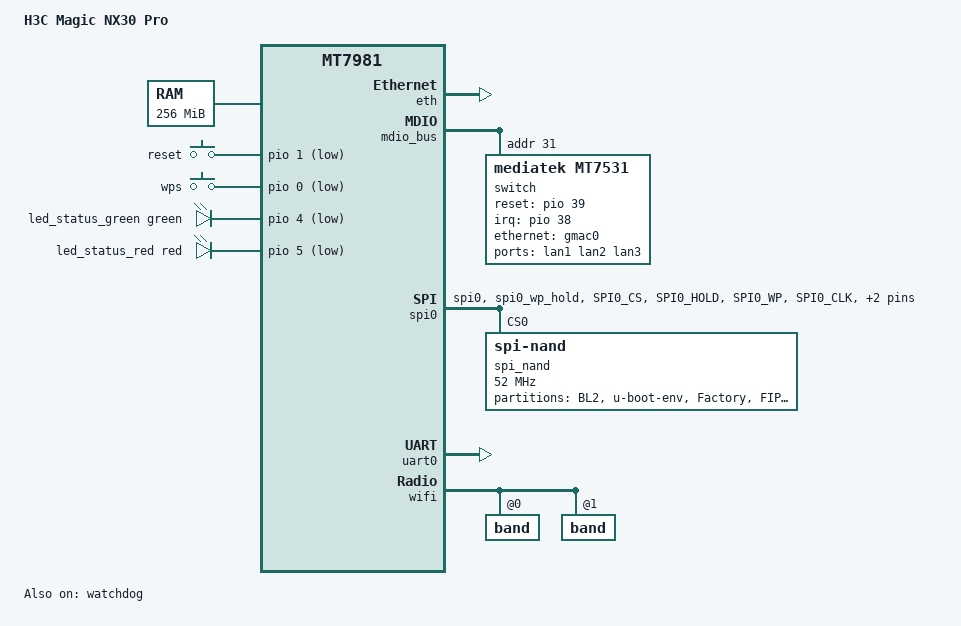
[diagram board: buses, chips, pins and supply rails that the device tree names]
// SPDX-License-Identifier: GPL-2.0-or-later OR MIT

/dts-v1/;
#include <dt-bindings/gpio/gpio.h>
#include <dt-bindings/input/input.h>
#include <dt-bindings/leds/common.h>

#include "mt7981.dtsi"

/ {
	model = "H3C Magic NX30 Pro";
	compatible = "h3c,magic-nx30-pro", "mediatek,mt7981";

	aliases {
		serial0 = &uart0;
		led-boot = &led_status_green;
		led-failsafe = &led_status_red;
		led-running = &led_status_green;
		led-upgrade = &led_status_red;
	};

	chosen: chosen {
		bootargs-append = " root=/dev/fit0 rootwait";
		rootdisk = <&ubi_rootdisk>;
		stdout-path = "serial0:115200n8";
	};

	memory {
		reg = <0 0x40000000 0 0x10000000>;
	};

	gpio-keys {
		compatible = "gpio-keys";

		reset {
			label = "reset";
			linux,code = <KEY_RESTART>;
			gpios = <&pio 1 GPIO_ACTIVE_LOW>;
		};

		wps {
			label = "wps";
			linux,code = <KEY_WPS_BUTTON>;
			gpios = <&pio 0 GPIO_ACTIVE_LOW>;
		};
	};

	leds {
		compatible = "gpio-leds";

		led_status_green: green {
			function = LED_FUNCTION_STATUS;
			color = <LED_COLOR_ID_GREEN>;
			gpios = <&pio 4 GPIO_ACTIVE_LOW>;
		};

		led_status_red: red {
			function = LED_FUNCTION_STATUS;
			color = <LED_COLOR_ID_RED>;
			gpios = <&pio 5 GPIO_ACTIVE_LOW>;
		};
	};
};

&eth {
	status = "okay";

	gmac0: mac@0 {
		compatible = "mediatek,eth-mac";
		reg = <0>;
		phy-mode = "2500base-x";
		nvmem-cell-names = "mac-address";
		nvmem-cells = <&macaddr_factory_4 2>;

		fixed-link {
			speed = <2500>;
			full-duplex;
			pause;
		};
	};

	gmac1: mac@1 {
		compatible = "mediatek,eth-mac";
		reg = <1>;
		phy-mode = "gmii";
		phy-handle = <&int_gbe_phy>;
		nvmem-cell-names = "mac-address";
		nvmem-cells = <&macaddr_factory_4 3>;
	};
};

&mdio_bus {
	switch: switch@1f {
		compatible = "mediatek,mt7531";
		reg = <31>;
		reset-gpios = <&pio 39 GPIO_ACTIVE_HIGH>;
		interrupt-controller;
		#interrupt-cells = <1>;
		interrupt-parent = <&pio>;
		interrupts = <38 IRQ_TYPE_LEVEL_HIGH>;
	};
};

&spi0 {
	pinctrl-names = "default";
	pinctrl-0 = <&spi0_flash_pins>;
	status = "okay";

	spi_nand: spi_nand@0 {
		compatible = "spi-nand";
		#address-cells = <1>;
		#size-cells = <1>;
		reg = <0>;

		spi-max-frequency = <52000000>;
		spi-tx-bus-width = <4>;
		spi-rx-bus-width = <4>;

		partitions {
			compatible = "fixed-partitions";
			#address-cells = <1>;
			#size-cells = <1>;

			partition@0 {
				label = "BL2";
				reg = <0x0000000 0x0100000>;
				read-only;
			};

			partition@100000 {
				label = "u-boot-env";
				reg = <0x0100000 0x0080000>;
			};

			factory: partition@180000 {
				label = "Factory";
				reg = <0x0180000 0x0200000>;
				read-only;

				nvmem-layout {
					compatible = "fixed-layout";
					#address-cells = <1>;
					#size-cells = <1>;

					/*
					 * e2p header: MAC field at offset 0x4.
					 * This is only a deterministic fallback: board.d
					 * 02_network reads H3C's own ethaddr from pdt_data_1 and
					 * overrides lan/wan plus the per-band .dat on firstboot.
					 */
					macaddr_factory_4: macaddr@4 {
						compatible = "mac-base";
						reg = <0x4 0x6>;
						#nvmem-cell-cells = <1>;
					};
				};
			};

			partition@380000 {
				label = "FIP";
				reg = <0x0380000 0x0200000>;
				read-only;
			};

			ubi: partition@580000 {
				label = "ubi";
				reg = <0x0580000 0x4000000>;
				compatible = "linux,ubi";

				volumes {
					ubi_rootdisk: ubi-volume-fit {
						volname = "fit";
					};
				};
			};

			/* yaffs partition */
			partition@4580000 {
				label = "pdt_data";
				reg = <0x4580000 0x0600000>;
				read-only;
			};

			/* yaffs partition */
			partition@4b80000 {
				label = "pdt_data_1";
				reg = <0x4b80000 0x0600000>;
				read-only;
			};

			partition@5180000 {
				label = "exp";
				reg = <0x5180000 0x0100000>;
				read-only;
			};

			partition@5280000 {
				label = "plugin";
				reg = <0x5280000 0x2580000>;
				read-only;
			};
		};
	};
};

&switch {
	ports {
		#address-cells = <1>;
		#size-cells = <0>;

		port@0 {
			reg = <0>;
			label = "lan1";
		};

		port@1 {
			reg = <1>;
			label = "lan2";
		};

		port@2 {
			reg = <2>;
			label = "lan3";
		};

		port@6 {
			reg = <6>;
			ethernet = <&gmac0>;
			phy-mode = "2500base-x";

			fixed-link {
				speed = <2500>;
				full-duplex;
				pause;
			};
		};
	};
};

&pio {
	spi0_flash_pins: spi0-pins {
		mux {
			function = "spi";
			groups = "spi0", "spi0_wp_hold";
		};

		conf-pu {
			pins = "SPI0_CS", "SPI0_HOLD", "SPI0_WP";
			drive-strength = <8>;
			mediatek,pull-up-adv = <0>; /* bias-disable */
		};

		conf-pd {
			pins = "SPI0_CLK", "SPI0_MOSI", "SPI0_MISO";
			drive-strength = <8>;
			mediatek,pull-up-adv = <0>; /* bias-disable */
		};
	};
};

&uart0 {
	status = "okay";
};

&watchdog {
	status = "okay";
};

&wifi {
	status = "okay";

	#address-cells = <1>;
	#size-cells = <0>;

	mediatek,mtd-eeprom = <&factory 0x0>;

	/*
	 * mt_wifi has no DT EEPROM support of its own, but mt_wifi_get_band_mac()
	 * does read these per-band MAC cells (see files-6.6/.../mt_wifi_mtd.c).
	 * A MacAddress in the per-band .dat outranks them, and 02_network seeds
	 * that from pdt_data_1, so these only surface when the .dat is unseeded.
	 */
	band@0 {
		reg = <0>;
		nvmem-cell-names = "mac-address";
		nvmem-cells = <&macaddr_factory_4 0>;
	};

	band@1 {
		reg = <1>;
		nvmem-cell-names = "mac-address";
		nvmem-cells = <&macaddr_factory_4 1>;
	};
};
